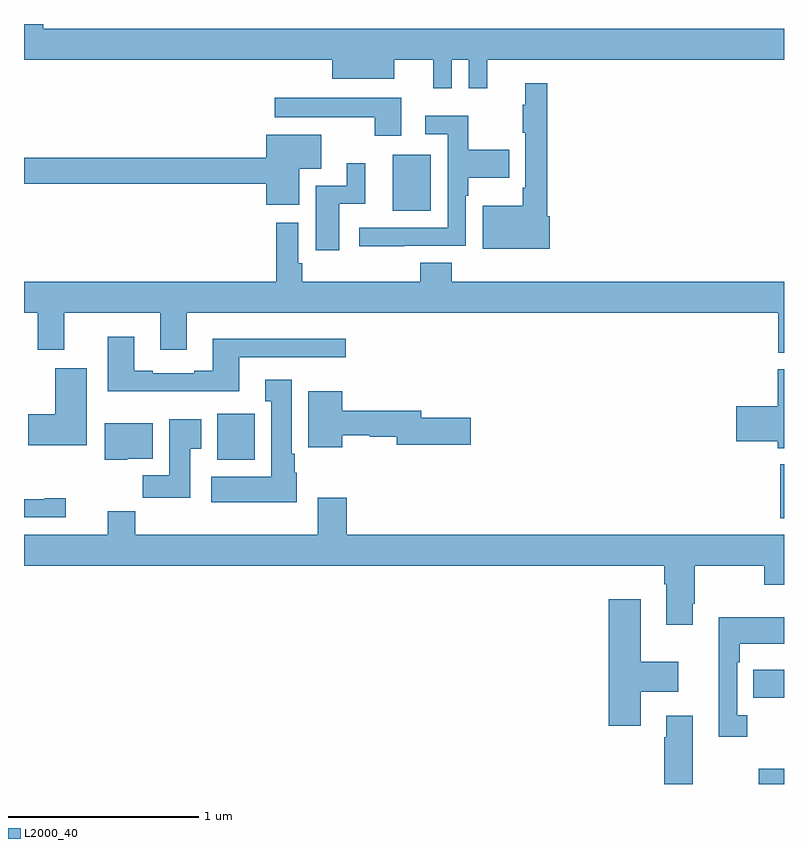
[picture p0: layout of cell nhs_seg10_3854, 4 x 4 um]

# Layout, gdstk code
import gdstk
lib = gdstk.Library(unit=1e-6, precision=1e-09)
def R(c, l, rs):  # rectangles x0, y0, x1, y1
    for r in rs: c.add(gdstk.rectangle(r[:2], r[2:], *l))
def P(c, l, *ps):  # polygons
    for p in ps: c.add(gdstk.Polygon(p, *l))
L2000_40 = (2000, 40)

nhs_seg10_3854 = lib.new_cell('nhs_seg10_3854')
R(nhs_seg10_3854, L2000_40, [(326.866,1300.5,327,1300.579), (326.839,1300.954,327,1301.101), (326.981,1301.898,327,1302.183), (324.017,1302.206,324.214,1302.448), (324.941,1303.517,325.141,1303.813)])
P(nhs_seg10_3854, L2000_40, [(325.251,1304.312),(325.341,1304.312),(325.341,1304.163),(325.439,1304.163),(325.439,1304.312),(327,1304.312),(327,1304.476),(323.102,1304.476),(323.102,1304.5),(323,1304.5),(323,1304.312),(324.623,1304.312),(324.623,1304.213),(324.949,1304.213),(324.949,1304.312),(325.154,1304.312),(325.154,1304.163),(325.251,1304.163)],
  [(325.768,1303.487),(325.754,1303.487),(325.754,1304.188),(325.637,1304.188),(325.637,1304.075),(325.626,1304.075),(325.626,1303.927),(325.638,1303.927),(325.638,1303.639),(325.626,1303.639),(325.626,1303.543),(325.415,1303.543),(325.415,1303.316),(325.768,1303.316)],
  [(324.985,1304.113),(324.321,1304.113),(324.321,1304.009),(324.845,1304.009),(324.845,1303.911),(324.985,1303.911)],
  [(325.001,1303.332),(325.326,1303.332),(325.326,1303.595),(325.339,1303.595),(325.339,1303.691),(325.553,1303.691),(325.553,1303.839),(325.339,1303.839),(325.339,1304.017),(325.113,1304.017),(325.113,1303.92),(325.23,1303.92),(325.23,1303.428),(324.765,1303.428),(324.765,1303.331),(325.001,1303.331)],
  [(324.448,1303.739),(324.565,1303.739),(324.565,1303.918),(324.275,1303.918),(324.275,1303.796),(323,1303.796),(323,1303.66),(324.275,1303.66),(324.275,1303.55),(324.448,1303.55)],
  [(324.658,1303.554),(324.796,1303.554),(324.796,1303.768),(324.698,1303.768),(324.698,1303.65),(324.536,1303.65),(324.536,1303.308),(324.658,1303.308)],
  [(327,1303.144),(325.25,1303.144),(325.25,1303.243),(325.085,1303.243),(325.085,1303.144),(324.464,1303.144),(324.464,1303.24),(324.444,1303.24),(324.444,1303.453),(324.328,1303.453),(324.328,1303.144),(323,1303.144),(323,1302.98),(323.072,1302.98),(323.072,1302.786),(323.212,1302.786),(323.212,1302.98),(323.717,1302.98),(323.717,1302.786),(323.857,1302.786),(323.857,1302.98),(326.969,1302.98),(326.969,1302.769),(327,1302.769)],
  [(324.133,1302.747),(324.694,1302.747),(324.694,1302.844),(323.993,1302.844),(323.993,1302.676),(323.897,1302.676),(323.897,1302.663),(323.677,1302.663),(323.677,1302.676),(323.581,1302.676),(323.581,1302.853),(323.441,1302.853),(323.441,1302.566),(324.133,1302.566)],
  [(323.329,1302.688),(323.165,1302.688),(323.165,1302.447),(323.022,1302.447),(323.022,1302.284),(323.329,1302.284)],
  [(327,1302.684),(326.966,1302.684),(326.966,1302.488),(326.748,1302.488),(326.748,1302.305),(326.966,1302.305),(326.966,1302.268),(327,1302.268)],
  [(324.436,1302.138),(324.424,1302.138),(324.424,1302.238),(324.409,1302.238),(324.409,1302.628),(324.269,1302.628),(324.269,1302.515),(324.302,1302.515),(324.302,1302.118),(323.985,1302.118),(323.985,1301.984),(324.436,1301.984)],
  [(324.676,1302.336),(324.819,1302.336),(324.819,1302.328),(324.962,1302.328),(324.962,1302.286),(325.351,1302.286),(325.351,1302.428),(325.09,1302.428),(325.09,1302.464),(324.676,1302.464),(324.676,1302.568),(324.497,1302.568),(324.497,1302.272),(324.676,1302.272)],
  [(323.875,1302.265),(323.932,1302.265),(323.932,1302.421),(323.765,1302.421),(323.765,1302.124),(323.626,1302.124),(323.626,1302.006),(323.875,1302.006)],
  [(323.544,1302.212),(323.677,1302.212),(323.677,1302.4),(323.426,1302.4),(323.426,1302.206),(323.544,1302.206)],
  [(326.521,1301.449),(326.529,1301.449),(326.529,1301.648),(326.896,1301.648),(326.896,1301.549),(327,1301.549),(327,1301.812),(324.698,1301.812),(324.698,1302.007),(324.545,1302.007),(324.545,1301.812),(323.585,1301.812),(323.585,1301.936),(323.441,1301.936),(323.441,1301.812),(323,1301.812),(323,1301.648),(326.369,1301.648),(326.369,1301.552),(326.381,1301.552),(326.381,1301.337),(326.521,1301.337)],
  [(323.221,1302.005),(323.108,1302.005),(323.108,1302),(323,1302),(323,1301.904),(323.221,1301.904)],
  [(326.245,1300.985),(326.443,1300.985),(326.443,1301.143),(326.245,1301.143),(326.245,1301.473),(326.078,1301.473),(326.078,1300.806),(326.245,1300.806)],
  [(326.806,1300.862),(326.754,1300.862),(326.754,1301.141),(326.767,1301.141),(326.767,1301.237),(327,1301.237),(327,1301.377),(326.657,1301.377),(326.657,1300.749),(326.806,1300.749)],
  [(326.521,1300.858),(326.381,1300.858),(326.381,1300.745),(326.369,1300.745),(326.369,1300.5),(326.521,1300.5)])

lib.write_gds('nhs_seg10_3854.gds')
